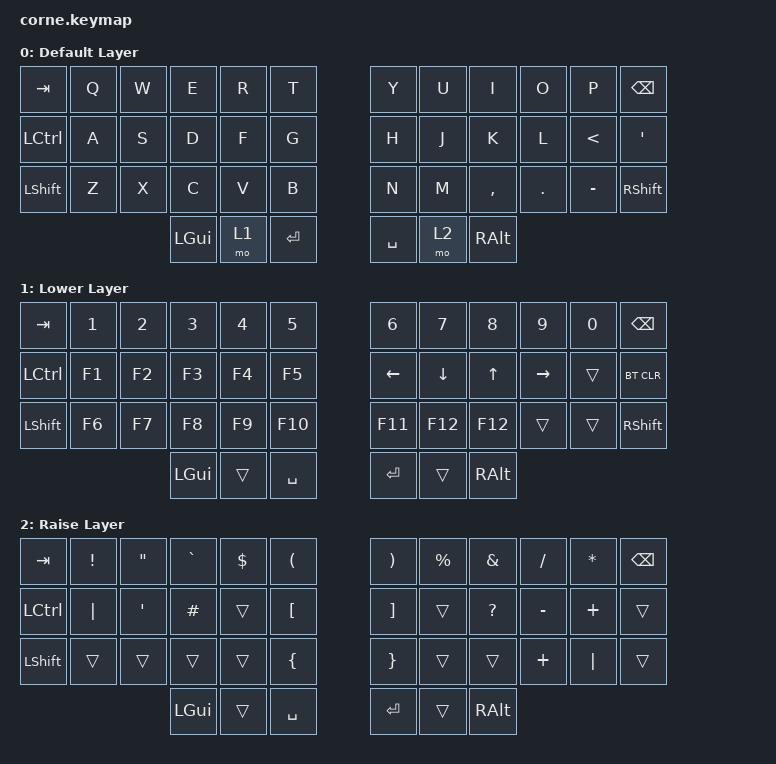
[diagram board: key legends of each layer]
/*
 * Copyright (c) 2020 The ZMK Contributors
 *
 * SPDX-License-Identifier: MIT
 */

#include <behaviors.dtsi>
#include <dt-bindings/zmk/bt.h>
#include <dt-bindings/zmk/keys.h>

/ {
    combos {
        compatible = "zmk,combos";

        jk_escape {
            bindings = <&kp ESCAPE>;
            key-positions = <19 20>;
            layers = <0>;
            timeout-ms = <100>;
        };
    };

    keymap {
        compatible = "zmk,keymap";

        default_layer {
            display-name = "Default Layer";

            // -----------------------------------------------------------------------------------------
            // |  TAB |  Q  |  W  |  E  |  R  |  T  |   |  Y  |  U   |  I  |  O  |  P  | BSPC |
            // | CTRL |  A  |  S  |  D  |  F  |  G  |   |  H  |  J   |  K  |  L  |  ;  |  '   |
            // | SHFT |  Z  |  X  |  C  |  V  |  B  |   |  N  |  M   |  ,  |  .  |  /  | ESC  |
            //                    | GUI | LWR | SPC |   | ENT | RSE  | ALT |

            bindings = <
&kp TAB    &kp Q  &kp W  &kp E     &kp R  &kp T         &kp Y      &kp U  &kp I      &kp O    &kp P          &kp BSPC
&kp LCTRL  &kp A  &kp S  &kp D     &kp F  &kp G         &kp H      &kp J  &kp K      &kp L    &kp LESS_THAN  &kp SQT
&kp LSHFT  &kp Z  &kp X  &kp C     &kp V  &kp B         &kp N      &kp M  &kp COMMA  &kp DOT  &kp MINUS      &kp RIGHT_SHIFT
                         &kp LGUI  &mo 1  &kp RETURN    &kp SPACE  &mo 2  &kp RALT
            >;
        };

        lower_layer {
            display-name = "Lower Layer";

            // -----------------------------------------------------------------------------------------
            // |  TAB |  1  |  2  |  3  |  4  |  5  |   |  6  |  7  |  8  |  9  |  0  | BSPC |
            // | BTCLR| BT1 | BT2 | BT3 | BT4 | BT5 |   | LFT | DWN |  UP | RGT |     |      |
            // | SHFT |     |     |     |     |     |   |     |     |     |     |     |      |
            //                    | GUI |     | SPC |   | ENT |     | ALT |

            bindings = <
&kp TAB         &kp N1  &kp N2  &kp N3    &kp N4  &kp N5       &kp N6    &kp N7    &kp N8        &kp N9     &kp N0  &kp BSPC
&kp LCTRL       &kp F1  &kp F2  &kp F3    &kp F4  &kp F5       &kp LEFT  &kp DOWN  &kp UP_ARROW  &kp RIGHT  &trans  &bt BT_CLR
&kp LEFT_SHIFT  &kp F6  &kp F7  &kp F8    &kp F9  &kp F10      &kp F11   &kp F12   &kp F12       &trans     &trans  &kp RIGHT_SHIFT
                                &kp LGUI  &trans  &kp SPACE    &kp RET   &trans    &kp RALT
            >;
        };

        raise_layer {
            display-name = "Raise Layer";

            // -----------------------------------------------------------------------------------------
            // |  TAB |  !  |  @  |  #  |  $  |  %  |   |  ^  |  &  |  *  |  (  |  )  | BSPC |
            // | CTRL |     |     |     |     |     |   |  -  |  =  |  [  |  ]  |  \  |  `   |
            // | SHFT |     |     |     |     |     |   |  _  |  +  |  {  |  }  | "|" |  ~   |
            //                    | GUI |     | SPC |   | ENT |     | ALT |

            bindings = <
&kp TAB    &kp EXCLAMATION  &kp DOUBLE_QUOTES  &kp GRAVE  &kp DOLLAR  &kp LEFT_PARENTHESIS    &kp RIGHT_PARENTHESIS  &kp PERCENT  &kp AMPERSAND  &kp SLASH  &kp ASTERISK  &kp BSPC
&kp LCTRL  &kp PIPE         &kp APOSTROPHE     &kp HASH   &trans      &kp LEFT_BRACKET        &kp RIGHT_BRACKET      &trans       &kp QUESTION   &kp MINUS  &kp PLUS      &trans
&kp LSHFT  &trans           &trans             &trans     &trans      &kp LEFT_BRACE          &kp RIGHT_BRACE        &trans       &trans         &kp PLUS   &kp PIPE      &trans
                                               &kp LGUI   &trans      &kp SPACE               &kp RET                &trans       &kp RALT
            >;
        };
    };
};
